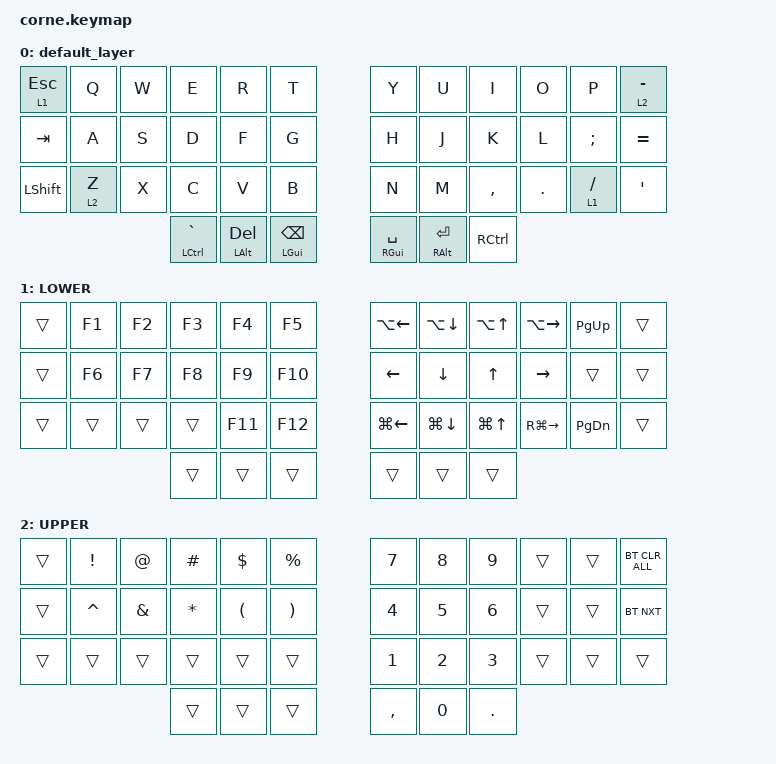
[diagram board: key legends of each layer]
/*
 * Corne keymap — nice!nano v2 + nice!view
 *
 * Key positions:
 *  0  1  2  3  4  5     6  7  8  9  10 11
 * 12 13 14 15 16 17    18 19 20 21 22 23
 * 24 25 26 27 28 29    30 31 32 33 34 35
 *          36 37 38    39 40 41
 */

#include <behaviors.dtsi>
#include <dt-bindings/zmk/bt.h>
#include <dt-bindings/zmk/keys.h>

/ {
    behaviors {
        /* Standard mod-tap: balanced, tap-biased during fast typing */

        hm: hold_mod {
            compatible = "zmk,behavior-hold-tap";
            #binding-cells = <2>;
            flavor = "balanced";
            tapping-term-ms = <150>;
            quick-tap-ms = <125>;
            require-prior-idle-ms = <100>;
            bindings = <&kp>, <&kp>;
        };

        /* Yeet key (Cmd/Bksp): hold-while-undecided for instant Cmd */

        hm_yeet: hold_mod_yeet {
            compatible = "zmk,behavior-hold-tap";
            #binding-cells = <2>;
            flavor = "balanced";
            tapping-term-ms = <200>;
            quick-tap-ms = <175>;
            hold-while-undecided;
            bindings = <&kp>, <&kp>;
        };

        /* Layer-tap with require-prior-idle to avoid misfires on Z */

        lt_hp: layer_hold_tap {
            compatible = "zmk,behavior-hold-tap";
            #binding-cells = <2>;
            flavor = "balanced";
            tapping-term-ms = <150>;
            quick-tap-ms = <125>;
            require-prior-idle-ms = <105>;
            bindings = <&mo>, <&kp>;
        };
    };

    combos {
        compatible = "zmk,combos";

        combo_lparen {
            bindings = <&kp LPAR>;
            key-positions = <4 5>;
            timeout-ms = <50>;
            layers = <0>;
        };

        combo_lbrace {
            bindings = <&kp LBRC>;
            key-positions = <16 17>;
            timeout-ms = <50>;
            layers = <0>;
        };

        combo_lbkt {
            bindings = <&kp LBKT>;
            key-positions = <28 29>;
            timeout-ms = <50>;
            layers = <0>;
        };

        combo_pipe {
            bindings = <&kp PIPE>;
            key-positions = <25 26>;
            timeout-ms = <50>;
            layers = <0>;
        };

        combo_rparen {
            bindings = <&kp RPAR>;
            key-positions = <6 7>;
            timeout-ms = <50>;
            layers = <0>;
        };

        combo_rbrace {
            bindings = <&kp RBRC>;
            key-positions = <18 19>;
            timeout-ms = <50>;
            layers = <0>;
        };

        combo_rbkt {
            bindings = <&kp RBKT>;
            key-positions = <30 31>;
            timeout-ms = <50>;
            layers = <0>;
        };

        combo_bslh {
            bindings = <&kp BSLH>;
            key-positions = <34 35>;
            timeout-ms = <50>;
            layers = <0>;
        };
    };

    keymap {
        compatible = "zmk,keymap";

        default_layer {
            bindings = <
&lt_hp 1 ESC  &kp Q       &kp W  &kp E            &kp R         &kp T                 &kp Y           &kp U         &kp I      &kp O    &kp P          &lt_hp 2 MINUS
&kp TAB       &kp A       &kp S  &kp D            &kp F         &kp G                 &kp H           &kp J         &kp K      &kp L    &kp SEMI       &kp EQUAL
&kp LSHFT     &lt_hp 2 Z  &kp X  &kp C            &kp V         &kp B                 &kp N           &kp M         &kp COMMA  &kp DOT  &lt_hp 1 FSLH  &kp SQT
                                 &hm LCTRL GRAVE  &hm LALT DEL  &hm_yeet LGUI BSPC    &hm RGUI SPACE  &hm RALT RET  &kp RCTRL
            >;
        };

        LOWER {
            bindings = <
&trans  &kp F1  &kp F2  &kp F3  &kp F4   &kp F5     &kp LA(LEFT)  &kp LA(DOWN)  &kp LA(UP_ARROW)  &kp LA(RIGHT)  &kp PG_UP      &trans
&trans  &kp F6  &kp F7  &kp F8  &kp F9   &kp F10    &kp LEFT      &kp DOWN      &kp UP            &kp RIGHT      &trans         &trans
&trans  &trans  &trans  &trans  &kp F11  &kp F12    &kp LG(LEFT)  &kp LG(DOWN)  &kp LG(UP_ARROW)  &kp RG(RIGHT)  &kp PAGE_DOWN  &trans
                        &trans  &trans   &trans     &trans        &trans        &trans
            >;
        };

        UPPER {
            bindings = <
&trans  &kp EXCL   &kp AT    &kp HASH  &kp DLLR  &kp PRCNT    &kp N7     &kp N8  &kp N9      &trans  &trans  &bt BT_CLR_ALL
&trans  &kp CARET  &kp AMPS  &kp STAR  &kp LPAR  &kp RPAR     &kp N4     &kp N5  &kp N6      &trans  &trans  &bt BT_NXT
&trans  &trans     &trans    &trans    &trans    &trans       &kp N1     &kp N2  &kp N3      &trans  &trans  &trans
                             &trans    &trans    &trans       &kp COMMA  &kp N0  &kp PERIOD
            >;
        };
    };
};
